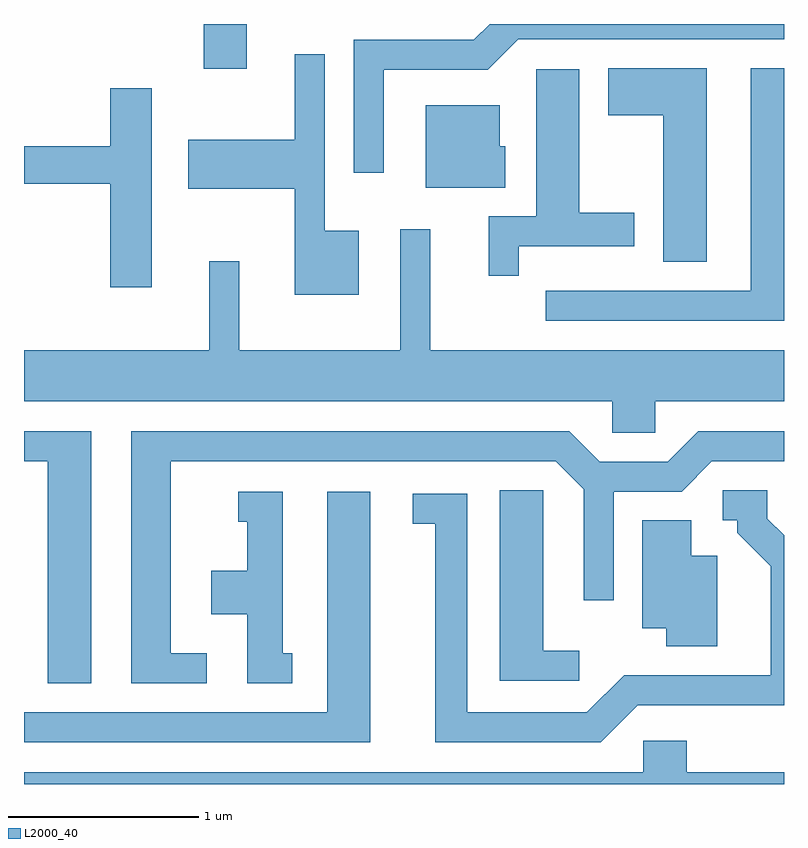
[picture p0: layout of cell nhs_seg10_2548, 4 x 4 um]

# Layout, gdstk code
import gdstk
lib = gdstk.Library(unit=1e-6, precision=1e-09)
def R(c, l, rs):  # rectangles x0, y0, x1, y1
    for r in rs: c.add(gdstk.rectangle(r[:2], r[2:], *l))
def P(c, l, *ps):  # polygons
    for p in ps: c.add(gdstk.Polygon(p, *l))
L2000_40 = (2000, 40)

nhs_seg10_2548 = lib.new_cell('nhs_seg10_2548')
R(nhs_seg10_2548, L2000_40, [(260.556,2162.286,260.784,2162.522)])
P(nhs_seg10_2548, L2000_40, [(261.504,2162.281),(262.052,2162.281),(262.212,2162.441),(263.611,2162.441),(263.611,2162.522),(262.062,2162.522),(261.979,2162.439),(261.346,2162.439),(261.346,2161.738),(261.504,2161.738)],
  [(261.374,2161.434),(261.194,2161.434),(261.194,2162.363),(261.036,2162.363),(261.036,2161.914),(260.476,2161.914),(260.476,2161.656),(261.036,2161.656),(261.036,2161.096),(261.374,2161.096)],
  [(263.611,2162.289),(263.436,2162.289),(263.436,2161.119),(262.358,2161.119),(262.358,2160.961),(263.611,2160.961)],
  [(263.204,2162.289),(262.686,2162.289),(262.686,2162.041),(262.976,2162.041),(262.976,2161.271),(263.204,2161.271)],
  [(262.214,2161.351),(262.824,2161.351),(262.824,2161.529),(262.534,2161.529),(262.534,2162.284),(262.306,2162.284),(262.306,2161.509),(262.056,2161.509),(262.056,2161.198),(262.214,2161.198)],
  [(260.284,2162.184),(260.066,2162.184),(260.066,2161.879),(259.611,2161.879),(259.611,2161.681),(260.066,2161.681),(260.066,2161.136),(260.284,2161.136)],
  [(262.144,2161.879),(262.114,2161.879),(262.114,2162.094),(261.726,2162.094),(261.726,2161.661),(262.144,2161.661)],
  [(262.934,2160.536),(263.611,2160.536),(263.611,2160.804),(261.749,2160.804),(261.749,2161.443),(261.591,2161.443),(261.591,2160.804),(260.744,2160.804),(260.744,2161.273),(260.586,2161.273),(260.586,2160.804),(259.611,2160.804),(259.611,2160.536),(262.706,2160.536),(262.706,2160.371),(262.934,2160.371)],
  [(259.964,2160.379),(259.611,2160.379),(259.611,2160.221),(259.736,2160.221),(259.736,2159.051),(259.964,2159.051)],
  [(260.573,2159.209),(260.384,2159.209),(260.384,2160.221),(262.409,2160.221),(262.556,2160.074),(262.556,2159.488),(262.714,2159.488),(262.714,2160.061),(263.072,2160.061),(263.232,2160.221),(263.611,2160.221),(263.611,2160.379),(263.159,2160.379),(262.999,2160.219),(262.642,2160.219),(262.482,2160.379),(260.176,2160.379),(260.176,2159.051),(260.573,2159.051)],
  [(262.842,2158.936),(263.611,2158.936),(263.611,2159.83),(263.524,2159.917),(263.524,2160.069),(263.288,2160.069),(263.288,2159.911),(263.366,2159.911),(263.366,2159.844),(263.541,2159.669),(263.541,2159.094),(262.769,2159.094),(262.574,2158.899),(261.944,2158.899),(261.944,2160.049),(261.658,2160.049),(261.658,2159.891),(261.776,2159.891),(261.776,2158.741),(262.647,2158.741)],
  [(262.533,2159.224),(262.344,2159.224),(262.344,2160.069),(262.116,2160.069),(262.116,2159.066),(262.533,2159.066)],
  [(261.022,2159.209),(260.974,2159.209),(260.974,2160.059),(260.738,2160.059),(260.738,2159.901),(260.786,2159.901),(260.786,2159.644),(260.596,2159.644),(260.596,2159.416),(260.786,2159.416),(260.786,2159.051),(261.022,2159.051)],
  [(261.434,2160.059),(261.206,2160.059),(261.206,2158.899),(259.611,2158.899),(259.611,2158.741),(261.434,2158.741)],
  [(263.259,2159.724),(263.124,2159.724),(263.124,2159.909),(262.866,2159.909),(262.866,2159.341),(262.991,2159.341),(262.991,2159.246),(263.259,2159.246)],
  [(263.611,2158.584),(263.099,2158.584),(263.099,2158.749),(262.871,2158.749),(262.871,2158.584),(259.611,2158.584),(259.611,2158.522),(263.611,2158.522)])

lib.write_gds('nhs_seg10_2548.gds')
